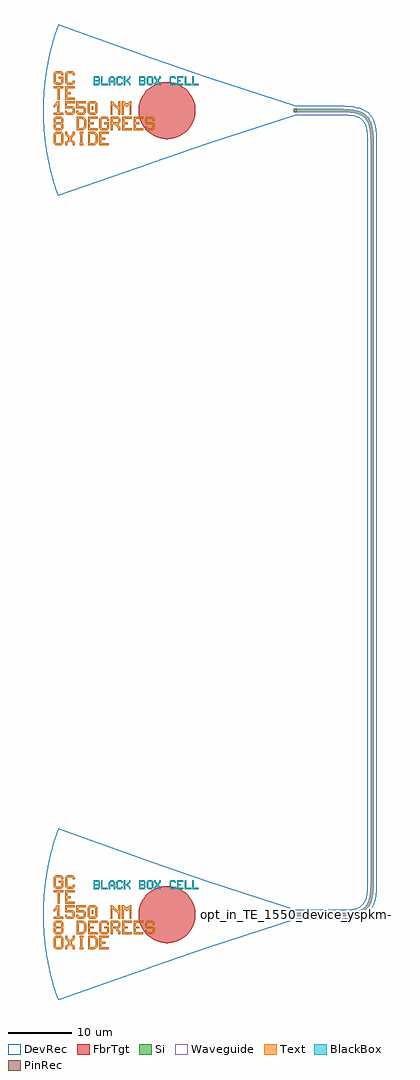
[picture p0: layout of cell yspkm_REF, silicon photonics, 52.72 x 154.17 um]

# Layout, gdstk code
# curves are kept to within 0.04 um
import gdstk
lib = gdstk.Library(unit=1e-6, precision=1e-09)
def R(c, l, rs):  # rectangles x0, y0, x1, y1
    for r in rs: c.add(gdstk.rectangle(r[:2], r[2:], *l))
def P(c, l, *ps):  # polygons
    for p in ps: c.add(gdstk.Polygon(p, *l))
Si = (1, 0)
PinRec = (1, 10)
Waveguide = (1, 99)
Text = (10, 0)
DevRec = (68, 0)
FbrTgt = (81, 0)
BlackBox = (998, 0)

waveguide = lib.new_cell('Waveguide')
P(waveguide, Si, [(0,-0.25),(0,0.25),(7.631,0.259),(8.889,0.362),(9.864,0.594),(10.667,1.034),(10.965,1.332),(11.209,1.696),(11.521,2.52),(11.711,3.793),(11.75,122),(11.697,123.385),(11.486,124.612),(11.094,125.493),(10.823,125.823),(10.494,126.093),(9.613,126.485),(8.729,126.659),(7.632,126.74),(0,126.75),(0,127.25),(8.05,127.222),(9.131,127.104),(10.033,126.875),(10.772,126.509),(11.267,126.082),(11.648,125.543),(11.966,124.75),(12.156,123.79),(12.241,122.647),(12.222,3.95),(12.042,2.55),(11.875,1.967),(11.647,1.456),(11.351,1.016),(10.983,0.648),(10.543,0.352),(10.032,0.124),(8.963,-0.132),(7.647,-0.241)])
P(waveguide, Waveguide, [(0,-0.25),(0,0.25),(7.631,0.259),(8.889,0.362),(9.864,0.594),(10.667,1.034),(10.965,1.332),(11.209,1.696),(11.521,2.52),(11.711,3.793),(11.75,122),(11.697,123.385),(11.486,124.612),(11.094,125.493),(10.823,125.823),(10.494,126.093),(9.613,126.485),(8.729,126.659),(7.632,126.74),(0,126.75),(0,127.25),(8.05,127.222),(9.131,127.104),(10.033,126.875),(10.772,126.509),(11.267,126.082),(11.648,125.543),(11.966,124.75),(12.156,123.79),(12.241,122.647),(12.222,3.95),(12.042,2.55),(11.875,1.967),(11.647,1.456),(11.351,1.016),(10.983,0.648),(10.543,0.352),(10.032,0.124),(8.963,-0.132),(7.647,-0.241)])
P(waveguide, DevRec, [(0,-0.75),(0,0.75),(7.649,0.76),(8.744,0.847),(9.895,1.145),(10.375,1.442),(10.557,1.624),(10.854,2.104),(11.074,2.806),(11.207,3.769),(11.25,5),(11.25,122),(11.208,123.23),(11.075,124.193),(10.715,125.158),(10.558,125.375),(10.159,125.714),(9.576,125.974),(8.745,126.152),(7.65,126.239),(0,126.25),(0,127.75),(8.351,127.703),(9.51,127.54),(10.51,127.222),(11.35,126.697),(11.698,126.349),(11.989,125.95),(12.405,125.027),(12.639,123.952),(12.74,122.701),(12.75,5),(12.703,3.649),(12.54,2.49),(12.404,1.972),(11.988,1.049),(11.349,0.302),(10.95,0.011),(10.027,-0.405),(8.952,-0.639),(7.701,-0.74)])
waveguide.add(gdstk.FlexPath([(0.01,0),(-0.01,0)], 0.5, ends="flush", simple_path=True, layer=1, datatype=10))  # PinRec
waveguide.add(gdstk.FlexPath([(0.01,127),(-0.01,127)], 0.5, ends="flush", simple_path=True, layer=1, datatype=10))  # PinRec
waveguide.add(gdstk.Label('Length=147.897 (microns)', (0,-0.6), layer=68, texttype=0))
waveguide.add(gdstk.Label('waveguide_type=Strip TE 1550 nm, w=500 nm', (0,-0.2), layer=68, texttype=0))
waveguide.add(gdstk.Label('cellName=Waveguide', (0,0.2), layer=68, texttype=0))
waveguide.add(gdstk.Label('Spice_param:wg_length=0.000147897 wg_width=5e-07 points="[[0.0,0.0],[12.0,0.0],[12.0,127.0],[0.0,127.0]]" radius=5e-06', (0,0), layer=68, texttype=0))
waveguide.add(gdstk.Label('Component=ebeam_wg_integral_1550', (0,0.1), layer=68, texttype=0))
waveguide.add(gdstk.Label('Lumerical_INTERCONNECT_library=Design kits/EBeam', (0,-0.1), layer=68, texttype=0))
waveguide.add(gdstk.Label('opt2', (0,127), layer=1, texttype=10))
waveguide.add(gdstk.Label('opt1', (0,0), layer=1, texttype=10))

text = lib.new_cell('TEXT')
P(text, BlackBox, [(13.2,0),(13.2,1.4),(14.2,1.4),(14.2,1.2),(13.4,1.2),(13.4,0.8),(13.8,0.8),(13.8,0.6),(13.4,0.6),(13.4,0.2),(14.2,0.2),(14.2,0)],
  [(9.6,0),(9.6,0.3),(9.9,0.6),(9.9,0.8),(9.6,1.1),(9.6,1.4),(9.8,1.4),(9.8,1.2),(10.1,0.9),(10.4,1.2),(10.4,1.4),(10.6,1.4),(10.6,1.1),(10.3,0.8),(10.3,0.6),(10.6,0.3),(10.6,0),(10.4,0),(10.4,0.2),(10.1,0.5),(9.8,0.2),(9.8,0)],
  [(8.6,0),(8.4,0.2),(8.4,1.2),(8.6,1.4),(9.2,1.4),(9.4,1.2),(9.4,0.7),(9.2,0.7),(9.2,1.1),(9.1,1.2),(8.7,1.2),(8.6,1.1),(8.6,0.3),(8.7,0.2),(9.1,0.2),(9.2,0.3),(9.2,0.7),(9.4,0.7),(9.4,0.2),(9.2,0)],
  [(4.8,0),(4.8,1.4),(5,1.4),(5,0.8),(5.2,0.8),(5.6,1.2),(5.6,1.4),(5.8,1.4),(5.8,1.1),(5.4,0.7),(5.8,0.3),(5.8,0),(5.6,0),(5.6,0.2),(5.2,0.6),(5,0.6),(5,0)],
  [(3.8,0),(3.6,0.2),(3.6,1.2),(3.8,1.4),(4.4,1.4),(4.6,1.2),(4.6,1),(4.4,1),(4.4,1.1),(4.3,1.2),(3.9,1.2),(3.8,1.1),(3.8,0.3),(3.9,0.2),(4.3,0.2),(4.4,0.3),(4.4,0.4),(4.6,0.4),(4.6,0.2),(4.4,0)],
  [(12.2,0),(12,0.2),(12,1.2),(12.2,1.4),(12.8,1.4),(13,1.2),(13,1),(12.8,1),(12.8,1.1),(12.7,1.2),(12.3,1.2),(12.2,1.1),(12.2,0.3),(12.3,0.2),(12.7,0.2),(12.8,0.3),(12.8,0.4),(13,0.4),(13,0.2),(12.8,0)],
  [(2.4,0),(2.4,1.1),(2.7,1.4),(3.1,1.4),(3.3,1.2),(2.8,1.2),(2.6,1),(2.6,0.7),(3.2,0.7),(3.2,1),(3,1.2),(3.3,1.2),(3.4,1.1),(3.4,0),(3.2,0),(3.2,0.5),(2.6,0.5),(2.6,0)],
  [(1.2,0),(1.2,1.4),(1.4,1.4),(1.4,0.2),(2.2,0.2),(2.2,0)],
  [(14.4,0),(14.4,1.4),(14.6,1.4),(14.6,0.2),(15.4,0.2),(15.4,0)],
  [(15.6,0),(15.6,1.4),(15.8,1.4),(15.8,0.2),(16.6,0.2),(16.6,0)],
  [(0,0),(0,1.4),(0.8,1.4),(1,1.2),(0.2,1.2),(0.2,0.8),(0.7,0.8),(0.8,0.9),(0.8,1.1),(0.7,1.2),(1,1.2),(1,0.8),(0.9,0.7),(1,0.6),(0.2,0.6),(0.2,0.2),(0.7,0.2),(0.8,0.3),(0.8,0.5),(0.7,0.6),(1,0.6),(1,0.2),(0.8,0)],
  [(7.2,0),(7.2,1.4),(8,1.4),(8.2,1.2),(7.4,1.2),(7.4,0.8),(7.9,0.8),(8,0.9),(8,1.1),(7.9,1.2),(8.2,1.2),(8.2,0.8),(8.1,0.7),(8.2,0.6),(7.4,0.6),(7.4,0.2),(7.9,0.2),(8,0.3),(8,0.5),(7.9,0.6),(8.2,0.6),(8.2,0.2),(8,0)])

gc_te_1550_8degoxide_bb = lib.new_cell('GC_TE_1550_8degOxide_BB')
R(gc_te_1550_8degoxide_bb, Si, [(-0.4,-0.25,0,0.25)])
R(gc_te_1550_8degoxide_bb, Text, [(-32.313,0.092,-32.013,0.692)])
P(gc_te_1550_8degoxide_bb, Text, [(-30.77,-3.09),(-31.07,-2.79),(-31.07,-1.29),(-30.77,-0.99),(-29.87,-0.99),(-29.57,-1.29),(-29.57,-1.59),(-29.87,-1.59),(-29.87,-1.44),(-30.02,-1.29),(-30.62,-1.29),(-30.77,-1.44),(-30.77,-2.64),(-30.62,-2.79),(-30.02,-2.79),(-29.87,-2.64),(-29.87,-2.19),(-30.32,-2.19),(-30.32,-1.89),(-29.57,-1.89),(-29.57,-2.79),(-29.87,-3.09)],
  [(-37.97,4.11),(-38.27,4.41),(-38.27,5.91),(-37.97,6.21),(-37.07,6.21),(-36.77,5.91),(-36.77,5.61),(-37.07,5.61),(-37.07,5.76),(-37.22,5.91),(-37.82,5.91),(-37.97,5.76),(-37.97,4.56),(-37.82,4.41),(-37.22,4.41),(-37.07,4.56),(-37.07,5.01),(-37.52,5.01),(-37.52,5.31),(-36.77,5.31),(-36.77,4.41),(-37.07,4.11)],
  [(-36.47,-5.49),(-36.47,-5.04),(-36.02,-4.59),(-36.02,-4.29),(-36.47,-3.84),(-36.47,-3.39),(-36.17,-3.39),(-36.17,-3.69),(-35.72,-4.14),(-35.27,-3.69),(-35.27,-3.39),(-34.97,-3.39),(-34.97,-3.84),(-35.42,-4.29),(-35.42,-4.59),(-34.97,-5.04),(-34.97,-5.49),(-35.27,-5.49),(-35.27,-5.19),(-35.72,-4.74),(-36.17,-5.19),(-36.17,-5.49)],
  [(-37.67,1.71),(-37.67,3.51),(-38.27,3.51),(-38.27,3.81),(-36.77,3.81),(-36.77,3.51),(-37.37,3.51),(-37.37,1.71)],
  [(-37.97,-5.49),(-38.27,-5.19),(-38.27,-3.69),(-37.97,-3.39),(-37.07,-3.39),(-36.77,-3.69),(-36.77,-4.44),(-37.07,-4.44),(-37.07,-3.84),(-37.22,-3.69),(-37.82,-3.69),(-37.97,-3.84),(-37.97,-5.04),(-37.82,-5.19),(-37.22,-5.19),(-37.07,-5.04),(-37.07,-4.44),(-36.77,-4.44),(-36.77,-5.19),(-37.07,-5.49)],
  [(-31.07,-5.49),(-31.07,-3.39),(-29.57,-3.39),(-29.57,-3.69),(-30.77,-3.69),(-30.77,-4.29),(-30.17,-4.29),(-30.17,-4.59),(-30.77,-4.59),(-30.77,-5.19),(-29.57,-5.19),(-29.57,-5.49)],
  [(-32.87,-3.09),(-32.87,-0.99),(-31.37,-0.99),(-31.37,-1.29),(-32.57,-1.29),(-32.57,-1.89),(-31.97,-1.89),(-31.97,-2.19),(-32.57,-2.19),(-32.57,-2.79),(-31.37,-2.79),(-31.37,-3.09)],
  [(-27.47,-3.09),(-27.47,-0.99),(-25.97,-0.99),(-25.97,-1.29),(-27.17,-1.29),(-27.17,-1.89),(-26.57,-1.89),(-26.57,-2.19),(-27.17,-2.19),(-27.17,-2.79),(-25.97,-2.79),(-25.97,-3.09)],
  [(-25.67,-3.09),(-25.67,-0.99),(-24.17,-0.99),(-24.17,-1.29),(-25.37,-1.29),(-25.37,-1.89),(-24.77,-1.89),(-24.77,-2.19),(-25.37,-2.19),(-25.37,-2.79),(-24.17,-2.79),(-24.17,-3.09)],
  [(-36.47,1.71),(-36.47,3.81),(-34.97,3.81),(-34.97,3.51),(-36.17,3.51),(-36.17,2.91),(-35.57,2.91),(-35.57,2.61),(-36.17,2.61),(-36.17,2.01),(-34.97,2.01),(-34.97,1.71)],
  [(-29.313,-0.658),(-29.313,1.442),(-29.013,1.442),(-28.263,0.692),(-28.113,0.692),(-28.113,1.442),(-27.813,1.442),(-27.813,-0.658),(-28.113,-0.658),(-28.113,0.092),(-28.863,0.842),(-29.013,0.842),(-29.013,-0.658)],
  [(-34.22,-5.49),(-34.22,-5.19),(-34.07,-5.19),(-34.07,-3.69),(-34.22,-3.69),(-34.22,-3.39),(-33.62,-3.39),(-33.62,-3.69),(-33.77,-3.69),(-33.77,-5.19),(-33.62,-5.19),(-33.62,-5.49)],
  [(-36.17,4.11),(-36.47,4.41),(-36.47,5.91),(-36.17,6.21),(-35.27,6.21),(-34.97,5.91),(-34.97,5.61),(-35.27,5.61),(-35.27,5.76),(-35.42,5.91),(-36.02,5.91),(-36.17,5.76),(-36.17,4.56),(-36.02,4.41),(-35.42,4.41),(-35.27,4.56),(-35.27,4.71),(-34.97,4.71),(-34.97,4.41),(-35.27,4.11)],
  [(-27.513,-0.658),(-27.513,1.442),(-27.213,1.442),(-26.913,1.142),(-26.613,1.142),(-26.313,1.442),(-26.013,1.442),(-26.013,-0.658),(-26.313,-0.658),(-26.313,0.842),(-26.463,0.842),(-26.763,0.542),(-27.063,0.842),(-27.213,0.842),(-27.213,-0.658)],
  [(-29.27,-3.09),(-29.27,-0.99),(-28.07,-0.99),(-27.77,-1.29),(-28.97,-1.29),(-28.97,-1.89),(-28.22,-1.89),(-28.07,-1.74),(-28.07,-1.44),(-28.22,-1.29),(-27.77,-1.29),(-27.77,-1.89),(-28.07,-2.19),(-28.07,-2.34),(-27.77,-2.64),(-27.77,-3.09),(-28.07,-3.09),(-28.07,-2.79),(-28.67,-2.19),(-28.97,-2.19),(-28.97,-3.09)],
  [(-32.613,-0.658),(-32.913,-0.358),(-32.913,1.142),(-32.613,1.442),(-31.713,1.442),(-31.413,1.142),(-32.463,1.142),(-32.613,0.992),(-32.613,-0.208),(-32.463,-0.358),(-31.863,-0.358),(-31.713,-0.208),(-31.713,0.992),(-31.863,1.142),(-31.413,1.142),(-31.413,-0.358),(-31.713,-0.658)],
  [(-37.97,-3.09),(-38.27,-2.79),(-38.27,-2.19),(-38.12,-2.04),(-38.27,-1.89),(-38.27,-1.29),(-37.97,-0.99),(-37.07,-0.99),(-36.77,-1.29),(-37.82,-1.29),(-37.97,-1.44),(-37.97,-1.74),(-37.82,-1.89),(-37.22,-1.89),(-37.07,-1.74),(-37.07,-1.44),(-37.22,-1.29),(-36.77,-1.29),(-36.77,-1.89),(-36.92,-2.04),(-36.77,-2.19),(-37.82,-2.19),(-37.97,-2.34),(-37.97,-2.64),(-37.82,-2.79),(-37.22,-2.79),(-37.07,-2.64),(-37.07,-2.34),(-37.22,-2.19),(-36.77,-2.19),(-36.77,-2.79),(-37.07,-3.09)],
  [(-32.87,-5.49),(-32.87,-3.39),(-31.82,-3.39),(-31.52,-3.69),(-32.57,-3.69),(-32.57,-5.19),(-31.97,-5.19),(-31.67,-4.89),(-31.67,-3.99),(-31.97,-3.69),(-31.52,-3.69),(-31.37,-3.84),(-31.37,-5.04),(-31.82,-5.49)],
  [(-34.67,-3.09),(-34.67,-0.99),(-33.62,-0.99),(-33.32,-1.29),(-34.37,-1.29),(-34.37,-2.79),(-33.77,-2.79),(-33.47,-2.49),(-33.47,-1.59),(-33.77,-1.29),(-33.32,-1.29),(-33.17,-1.44),(-33.17,-2.64),(-33.62,-3.09)],
  [(-36.213,-0.658),(-36.513,-0.358),(-36.513,-0.058),(-36.213,-0.058),(-36.213,-0.208),(-36.063,-0.358),(-35.463,-0.358),(-35.313,-0.208),(-35.313,0.242),(-35.463,0.392),(-36.513,0.392),(-36.513,1.442),(-35.013,1.442),(-35.013,1.142),(-36.213,1.142),(-36.213,0.692),(-35.313,0.692),(-35.013,0.392),(-35.013,-0.358),(-35.313,-0.658)],
  [(-34.413,-0.658),(-34.713,-0.358),(-34.713,-0.058),(-34.413,-0.058),(-34.413,-0.208),(-34.263,-0.358),(-33.663,-0.358),(-33.513,-0.208),(-33.513,0.242),(-33.663,0.392),(-34.713,0.392),(-34.713,1.442),(-33.213,1.442),(-33.213,1.142),(-34.413,1.142),(-34.413,0.692),(-33.513,0.692),(-33.213,0.392),(-33.213,-0.358),(-33.513,-0.658)],
  [(-23.57,-3.09),(-23.87,-2.79),(-23.87,-2.49),(-23.57,-2.49),(-23.57,-2.64),(-23.42,-2.79),(-22.82,-2.79),(-22.67,-2.64),(-22.67,-2.34),(-22.82,-2.19),(-23.57,-2.19),(-23.87,-1.89),(-23.87,-1.29),(-23.57,-0.99),(-22.67,-0.99),(-22.37,-1.29),(-22.37,-1.59),(-22.67,-1.59),(-22.67,-1.44),(-22.82,-1.29),(-23.42,-1.29),(-23.57,-1.44),(-23.57,-1.74),(-23.42,-1.89),(-22.67,-1.89),(-22.37,-2.19),(-22.37,-2.79),(-22.67,-3.09)],
  [(-38.313,-0.658),(-38.313,-0.358),(-37.713,-0.358),(-37.713,0.842),(-37.863,0.842),(-38.163,0.542),(-38.313,0.542),(-38.313,0.842),(-37.713,1.442),(-37.413,1.442),(-37.413,-0.358),(-36.813,-0.358),(-36.813,-0.658)])
P(gc_te_1550_8degoxide_bb, DevRec, [(-37.607,-13.5),(-38.627,-10.245),(-39.378,-6.832),(-39.647,-5.058),(-39.835,-3.274),(-39.969,0.224),(-39.812,3.541),(-39.331,7.097),(-38.557,10.505),(-37.546,13.669),(-22.8,8.353),(-14.109,5.36),(0,0.75),(0,-0.75),(-14.109,-5.36)])
P(gc_te_1550_8degoxide_bb, FbrTgt, [(-20.621,-4.5),(-21.495,-4.37),(-22.326,-4.073),(-23.084,-3.619),(-23.738,-3.026),(-24.264,-2.316),(-24.642,-1.518),(-24.857,-0.661),(-24.9,0.221),(-24.77,1.095),(-24.473,1.926),(-24.019,2.684),(-23.426,3.338),(-22.716,3.864),(-21.918,4.242),(-21.061,4.457),(-20.179,4.5),(-19.305,4.37),(-18.474,4.073),(-17.716,3.619),(-17.062,3.026),(-16.536,2.316),(-16.158,1.518),(-15.943,0.661),(-15.9,-0.221),(-16.03,-1.095),(-16.327,-1.926),(-16.781,-2.684),(-17.374,-3.338),(-18.084,-3.864),(-18.882,-4.242),(-19.739,-4.457)])
gc_te_1550_8degoxide_bb.add(gdstk.FlexPath([(-0.01,0),(0.01,0)], 0.5, ends="flush", simple_path=True, layer=1, datatype=10))  # PinRec
gc_te_1550_8degoxide_bb.add(gdstk.Reference(text, (-32,4)))
gc_te_1550_8degoxide_bb.add(gdstk.Label('Component=GC_TE_1550_8degOxide_BB', (-28,-5), layer=68, texttype=0))
gc_te_1550_8degoxide_bb.add(gdstk.Label('Lumerical_INTERCONNECT_library=Design kits/ebeam', (-29,-7), layer=68, texttype=0))
gc_te_1550_8degoxide_bb.add(gdstk.Label('opt1', (0,0), layer=1, texttype=10))

yspkm_ref = lib.new_cell('yspkm_REF')
yspkm_ref.add(gdstk.Reference(waveguide, (0,0)))
yspkm_ref.add(gdstk.Reference(gc_te_1550_8degoxide_bb, (0,0)))
yspkm_ref.add(gdstk.Reference(gc_te_1550_8degoxide_bb, (0,127)))
yspkm_ref.add(gdstk.Label('opt_in_TE_1550_device_yspkm-REF_comment', (0,0), layer=10, texttype=0))

lib.write_gds('yspkm_REF.gds')
